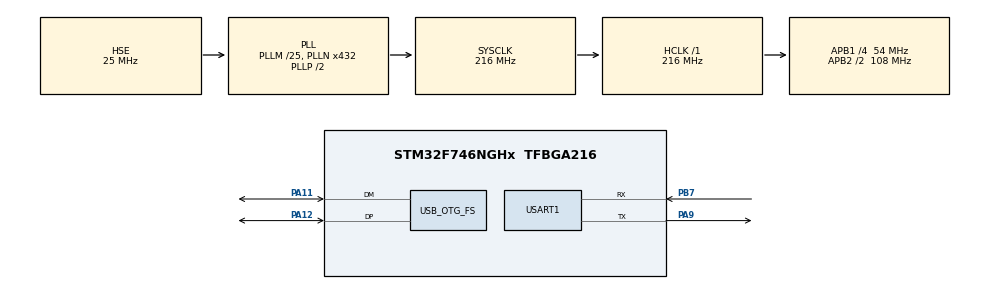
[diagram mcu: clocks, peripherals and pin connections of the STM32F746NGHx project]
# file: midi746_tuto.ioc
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Mcu.Family=STM32F7
Mcu.Name=STM32F746NGHx
Mcu.Package=TFBGA216
NVIC.OTG_FS_IRQn=true\:0\:0\:false\:false\:true\:false\:true
NVIC.PriorityGroup=NVIC_PRIORITYGROUP_4
PA11.Mode=Device_Only
PA11.Signal=USB_OTG_FS_DM
PA12.Mode=Device_Only
PA12.Signal=USB_OTG_FS_DP
PA13.Mode=Serial_Wire
PA13.Signal=SYS_JTMS-SWDIO
PA14.Mode=Serial_Wire
PA14.Signal=SYS_JTCK-SWCLK
PA9.Mode=Asynchronous
PA9.Signal=USART1_TX
PB7.Mode=Asynchronous
PB7.Signal=USART1_RX
PH0/OSC_IN.Mode=HSE-External-Oscillator
PH0/OSC_IN.Signal=RCC_OSC_IN
PH1/OSC_OUT.Mode=HSE-External-Oscillator
PH1/OSC_OUT.Signal=RCC_OSC_OUT
ProjectManager.HeapSize=0x600
ProjectManager.StackSize=0x400
ProjectManager.TargetToolchain=STM32CubeIDE
RCC.AHBFreq_Value=216000000
RCC.APB1CLKDivider=RCC_HCLK_DIV4
RCC.APB1Freq_Value=54000000
RCC.APB1TimFreq_Value=108000000
RCC.APB2CLKDivider=RCC_HCLK_DIV2
RCC.APB2Freq_Value=108000000
RCC.APB2TimFreq_Value=216000000
RCC.CortexFreq_Value=216000000
RCC.HCLKFreq_Value=216000000
RCC.HSE_VALUE=25000000
RCC.HSI_VALUE=16000000
RCC.LSE_VALUE=32768
RCC.PLLM=25
RCC.PLLN=432
RCC.PLLQ=9
RCC.SYSCLKFreq_VALUE=216000000
RCC.SYSCLKSource=RCC_SYSCLKSOURCE_PLLCLK
RCC.USBFreq_Value=48000000
RCC.VCOOutputFreq_Value=432000000
USART1.VirtualMode-Asynchronous=VM_ASYNC
USB_DEVICE.CLASS_NAME_FS=CDC
USB_DEVICE.MANUFACTURER_STRING-CDC_FS=ENSEA
USB_DEVICE.PID_CDC_FS=0x0216
USB_DEVICE.PRODUCT_STRING_CDC_FS=MonProjet
USB_DEVICE.VID-CDC_FS=0x1988
USB_DEVICE.VirtualMode-CDC_FS=Cdc
USB_DEVICE.VirtualModeFS=Cdc_FS
USB_OTG_FS.VirtualMode=Device_Only
VP_USB_DEVICE_VS_USB_DEVICE_CDC_FS.Mode=CDC_FS
board=STM32F746G-DISCO

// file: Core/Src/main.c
/* USER CODE BEGIN Header */
/**
 ******************************************************************************
 * @file           : main.c
 * @brief          : Main program body
 ******************************************************************************
 * @attention
 *
 * Copyright (c) 2022 STMicroelectronics.
 * All rights reserved.
 *
 * This software is licensed under terms that can be found in the LICENSE file
 * in the root directory of this software component.
 * If no LICENSE file comes with this software, it is provided AS-IS.
 *
 ******************************************************************************
 */
/* USER CODE END Header */
#include "main.h"
#include "usart.h"
#include "usb_device.h"
#include "gpio.h"

/* USER CODE BEGIN Includes */
#include <stdio.h>
#include "usbd_midi_if.h"
#include <string.h>
/* USER CODE END Includes */

void SystemClock_Config(void);

/* USER CODE BEGIN 0 */
int __io_putchar(int ch) {
	HAL_UART_Transmit(&huart1, (uint8_t *)&ch, 1, HAL_MAX_DELAY);
	return ch;
}

static void onCtlChange(uint8_t ch, uint8_t num, uint8_t value){
	printf("Ctl Change %d %d %d\r\n", ch, num, value);
}

static void onNoteOn(uint8_t ch, uint8_t note, uint8_t vel){
	printf("Note On %d %d %d\r\n", ch, note, vel);
}

static void onNoteOff(uint8_t ch, uint8_t note, uint8_t vel){
	printf("Note Off %d %d %d \r\n", ch, note, vel);
}

/* USER CODE END 0 */

int main(void)
{

	/* MCU Configuration--------------------------------------------------------*/

	/* Reset of all peripherals, Initializes the Flash interface and the Systick. */
	HAL_Init();

	/* Configure the system clock */
	SystemClock_Config();

	/* Initialize all configured peripherals */
	MX_GPIO_Init();
	MX_USART1_UART_Init();
	MX_USB_DEVICE_Init();
	/* USER CODE BEGIN 2 */
	printf("===== MIDI USB =====\r\n");

	setHdlNoteOff(onNoteOff);
	setHdlNoteOn(onNoteOn);
	setHdlCtlChange(onCtlChange);

	/* USER CODE END 2 */

	/* Infinite loop */
	/* USER CODE BEGIN WHILE */
	while (1)
	{
		processMidiMessage();
		/* USER CODE END WHILE */

	}
}

void SystemClock_Config(void)
{
	RCC_OscInitTypeDef RCC_OscInitStruct = {0};
	RCC_ClkInitTypeDef RCC_ClkInitStruct = {0};

	/** Configure the main internal regulator output voltage
	 */
	__HAL_RCC_PWR_CLK_ENABLE();
	__HAL_PWR_VOLTAGESCALING_CONFIG(PWR_REGULATOR_VOLTAGE_SCALE1);
	/** Initializes the RCC Oscillators according to the specified parameters
	 * in the RCC_OscInitTypeDef structure.
	 */
	RCC_OscInitStruct.OscillatorType = RCC_OSCILLATORTYPE_HSE;
	RCC_OscInitStruct.HSEState = RCC_HSE_ON;
	RCC_OscInitStruct.PLL.PLLState = RCC_PLL_ON;
	RCC_OscInitStruct.PLL.PLLSource = RCC_PLLSOURCE_HSE;
	RCC_OscInitStruct.PLL.PLLM = 25;
	RCC_OscInitStruct.PLL.PLLN = 432;
	RCC_OscInitStruct.PLL.PLLP = RCC_PLLP_DIV2;
	RCC_OscInitStruct.PLL.PLLQ = 9;
	if (HAL_RCC_OscConfig(&RCC_OscInitStruct) != HAL_OK)
	{
		Error_Handler();
	}
	/** Activate the Over-Drive mode
	 */
	if (HAL_PWREx_EnableOverDrive() != HAL_OK)
	{
		Error_Handler();
	}
	/** Initializes the CPU, AHB and APB buses clocks
	 */
	RCC_ClkInitStruct.ClockType = RCC_CLOCKTYPE_HCLK|RCC_CLOCKTYPE_SYSCLK
			|RCC_CLOCKTYPE_PCLK1|RCC_CLOCKTYPE_PCLK2;
	RCC_ClkInitStruct.SYSCLKSource = RCC_SYSCLKSOURCE_PLLCLK;
	RCC_ClkInitStruct.AHBCLKDivider = RCC_SYSCLK_DIV1;
	RCC_ClkInitStruct.APB1CLKDivider = RCC_HCLK_DIV4;
	RCC_ClkInitStruct.APB2CLKDivider = RCC_HCLK_DIV2;

	if (HAL_RCC_ClockConfig(&RCC_ClkInitStruct, FLASH_LATENCY_7) != HAL_OK)
	{
		Error_Handler();
	}
}

void Error_Handler(void)
{
	__disable_irq();
	while (1)
	{
	}
}
